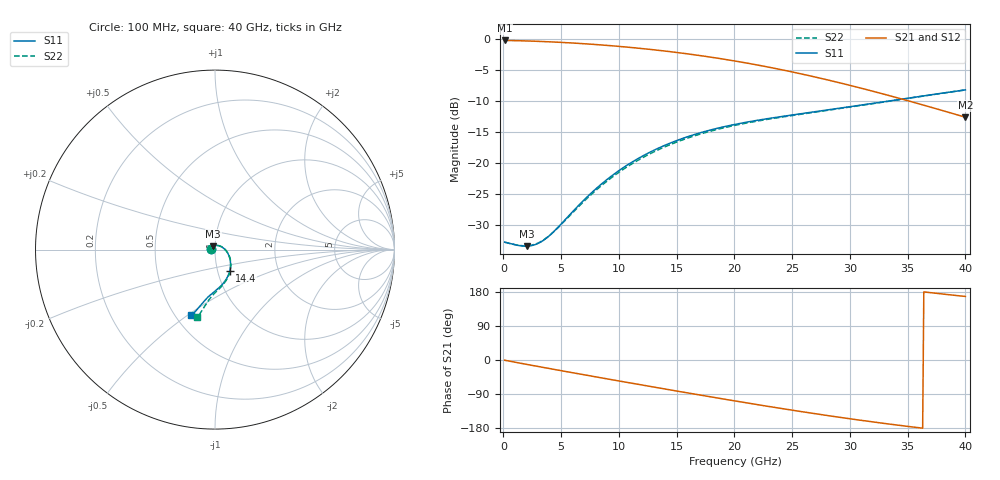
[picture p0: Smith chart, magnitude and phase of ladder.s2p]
! D_s8_stitch_1p0: via ladder as kisi uses it (kisi_si::via_pbm, graded grid, junction model), ports at the via
# Hz S RI R 50
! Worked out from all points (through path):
!   400 points, 100 MHz to 40 GHz, reference 50 ohm
!   highest |S21| = -0.20 dB at 100 MHz (marker M1); lowest = -12.6 dB at 40 GHz (marker M2)
!   group delay of S21, straight-line fit = 13.6 ps
!   lowest |S11| = -33.5 dB at 2 GHz (marker M3), VSWR 1.04, Z = 48.9 + j1.8 ohm
!   |S11| at or under -10 dB: start of sweep to 33.34 GHz
!   |S22| runs from -33.4 to -8.2 dB; largest |S21 - S12| = 0
!   S11 on the Smith chart (normalised r, x): 100 MHz: 0.96, +0.00; 14.4 GHz: 1.14, -0.28; 40 GHz: 0.60, -0.52
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1e8  -0.0229 0.00138  0.9768 -0.0102  0.9768 -0.0102  -0.0229 0.00138
2e9  -0.0106 0.0184  0.9487 -0.1935  0.9487 -0.1935  -0.0109 0.0184
2.8e9  -0.00235 0.0218  0.9253 -0.2657  0.9253 -0.2657  -0.00287 0.022
3.7e9  0.0082 0.0232  0.8916 -0.3428  0.8916 -0.3428  0.00739 0.0236
4.6e9  0.0196 0.0219  0.8509 -0.4151  0.8509 -0.4151  0.0185 0.0226
6.8e9  0.0477 0.00772  0.7258 -0.568  0.7258 -0.568  0.0462 0.00986
8.4e9  0.0655 -0.0115  0.6168 -0.6551  0.6168 -0.6551  0.0641 -0.00797
1.01e10  0.0792 -0.0383  0.49 -0.723  0.49 -0.723  0.0785 -0.0332
1.17e10  0.0858 -0.0674  0.3651 -0.7631  0.3651 -0.7631  0.0864 -0.061
1.34e10  0.0856 -0.0998  0.2316 -0.7803  0.2316 -0.7803  0.088 -0.0925
1.44e10  0.0822 -0.1185  0.1548 -0.7786  0.1548 -0.7786  0.0858 -0.1109
1.57e10  0.0745 -0.1416  0.059 -0.7643  0.059 -0.7643  0.0799 -0.134
1.71e10  0.0631 -0.1642  -0.0371 -0.7347  -0.0371 -0.7347  0.0703 -0.1568
2.01e10  0.0325 -0.2028  -0.209 -0.6315  -0.209 -0.6315  0.0433 -0.1971
2.17e10  0.0156 -0.2183  -0.2779 -0.5609  -0.2779 -0.5609  0.0279 -0.2139
2.33e10  -0.000287 -0.2313  -0.3299 -0.4845  -0.3299 -0.4845  0.0133 -0.2282
2.5e10  -0.0156 -0.2435  -0.367 -0.4013  -0.367 -0.4013  -0.000779 -0.2418
2.67e10  -0.0293 -0.2552  -0.3867 -0.3199  -0.3867 -0.3199  -0.0133 -0.2546
2.97e10  -0.0509 -0.2769  -0.3864 -0.1901  -0.3864 -0.1901  -0.0323 -0.2782
3.34e10  -0.0769 -0.3073  -0.3439 -0.0665  -0.3439 -0.0665  -0.054 -0.311
3.66e10  -0.1017 -0.3359  -0.2893 0.00494  -0.2893 0.00494  -0.074 -0.3422
4e10  -0.1311 -0.3665  -0.2288 0.0498  -0.2288 0.0498  -0.0975 -0.3767
